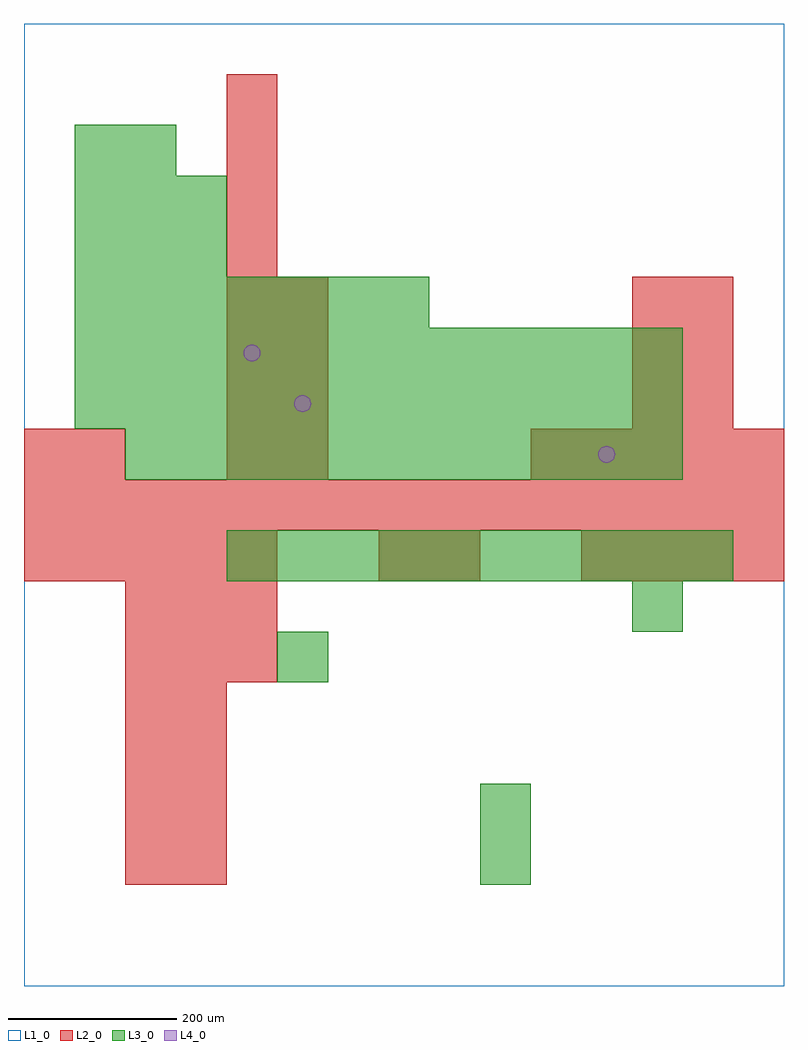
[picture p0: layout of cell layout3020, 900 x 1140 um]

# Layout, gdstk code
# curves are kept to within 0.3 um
import gdstk
lib = gdstk.Library(unit=1e-6, precision=1e-09)
def R(c, l, rs):  # rectangles x0, y0, x1, y1
    for r in rs: c.add(gdstk.rectangle(r[:2], r[2:], *l))
def A(c, l, x, y, w, h, nx, ny, dx, dy):  # array of equal rectangles
    R(c, l, [(x+i*dx, y+j*dy, x+i*dx+w, y+j*dy+h) for i in range(nx) for j in range(ny)])
def P(c, l, *ps):  # polygons
    for p in ps: c.add(gdstk.Polygon(p, *l))
L1_0 = (1, 0)
L2_0 = (2, 0)
L3_0 = (3, 0)
L4_0 = (4, 0)

layout3020 = lib.new_cell('layout3020')
R(layout3020, L1_0, [(0,0,900,1140)])
A(layout3020, L2_0, 120, 120, 60, 60, 1, 4, 0, 60)
A(layout3020, L2_0, 180, 120, 60, 60, 1, 4, 0, 60)
A(layout3020, L2_0, 120, 360, 60, 60, 3, 2, 60, 60)
A(layout3020, L2_0, 0, 480, 60, 60, 5, 1, 60, 0)
A(layout3020, L2_0, 660, 480, 60, 60, 4, 1, 60, 0)
A(layout3020, L2_0, 0, 540, 60, 60, 15, 1, 60, 0)
A(layout3020, L2_0, 240, 600, 60, 60, 1, 8, 0, 60)
A(layout3020, L2_0, 300, 600, 60, 60, 1, 4, 0, 60)
A(layout3020, L2_0, 600, 600, 60, 60, 5, 1, 60, 0)
A(layout3020, L2_0, 720, 660, 60, 60, 1, 3, 0, 60)
A(layout3020, L2_0, 780, 660, 60, 60, 1, 3, 0, 60)
R(layout3020, L2_0, [(420,480,480,540), (480,480,540,540), (0,600,60,660), (60,600,120,660)])
A(layout3020, L3_0, 240, 480, 60, 60, 10, 1, 60, 0)
A(layout3020, L3_0, 120, 600, 60, 60, 11, 1, 60, 0)
A(layout3020, L3_0, 60, 660, 60, 60, 12, 2, 60, 60)
A(layout3020, L3_0, 60, 780, 60, 60, 7, 1, 60, 0)
A(layout3020, L3_0, 60, 840, 60, 60, 3, 2, 60, 60)
R(layout3020, L3_0, [(540,120,600,180), (540,180,600,240), (300,360,360,420), (720,420,780,480), (60,960,120,1020), (120,960,180,1020)])
P(layout3020, L4_0, [(280,750),(279.239,753.827),(277.071,757.071),(273.827,759.239),(270,760),(266.173,759.239),(262.929,757.071),(260.761,753.827),(260,750),(260.761,746.173),(262.929,742.929),(266.173,740.761),(270,740),(273.827,740.761),(277.071,742.929),(279.239,746.173)],
  [(340,690),(339.239,693.827),(337.071,697.071),(333.827,699.239),(330,700),(326.173,699.239),(322.929,697.071),(320.761,693.827),(320,690),(320.761,686.173),(322.929,682.929),(326.173,680.761),(330,680),(333.827,680.761),(337.071,682.929),(339.239,686.173)],
  [(700,630),(699.239,633.827),(697.071,637.071),(693.827,639.239),(690,640),(686.173,639.239),(682.929,637.071),(680.761,633.827),(680,630),(680.761,626.173),(682.929,622.929),(686.173,620.761),(690,620),(693.827,620.761),(697.071,622.929),(699.239,626.173)])

lib.write_gds('layout3020.gds')
